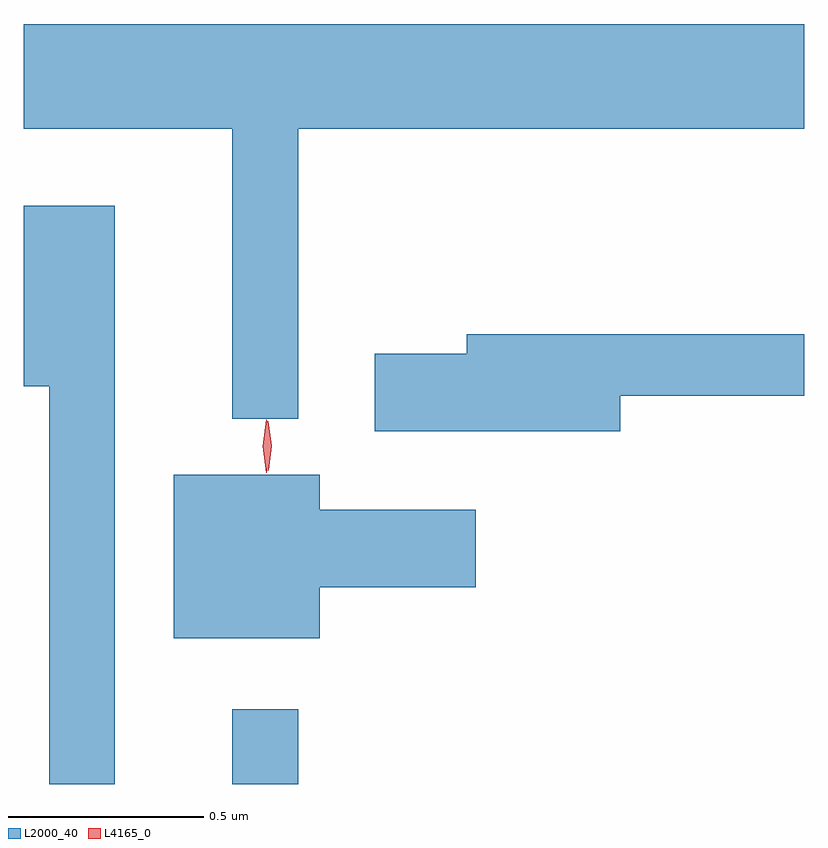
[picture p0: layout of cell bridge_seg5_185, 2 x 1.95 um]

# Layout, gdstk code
import gdstk
lib = gdstk.Library(unit=1e-6, precision=1e-09)
def R(c, l, rs):  # rectangles x0, y0, x1, y1
    for r in rs: c.add(gdstk.rectangle(r[:2], r[2:], *l))
def P(c, l, *ps):  # polygons
    for p in ps: c.add(gdstk.Polygon(p, *l))
L2000_40 = (2000, 40)
L4165_0 = (4165, 0)

bridge_seg5_185 = lib.new_cell('bridge_seg5_185')
R(bridge_seg5_185, L2000_40, [(1228.331,1455.117,1228.499,1455.308)])
P(bridge_seg5_185, L2000_40, [(1228.499,1456.796),(1229.796,1456.796),(1229.796,1457.064),(1227.796,1457.064),(1227.796,1456.796),(1228.331,1456.796),(1228.331,1456.053),(1228.499,1456.053)],
  [(1228.029,1456.599),(1227.796,1456.599),(1227.796,1456.136),(1227.861,1456.136),(1227.861,1455.117),(1228.029,1455.117)],
  [(1229.324,1456.111),(1229.796,1456.111),(1229.796,1456.269),(1228.931,1456.269),(1228.931,1456.219),(1228.696,1456.219),(1228.696,1456.021),(1229.324,1456.021)],
  [(1228.554,1455.621),(1228.954,1455.621),(1228.954,1455.819),(1228.554,1455.819),(1228.554,1455.909),(1228.181,1455.909),(1228.181,1455.491),(1228.554,1455.491)])
P(bridge_seg5_185, L4165_0, [(1228.418,1455.914),(1228.418,1455.915),(1228.408,1455.982),(1228.418,1456.05),(1228.418,1456.05),(1228.419,1456.05),(1228.428,1455.982),(1228.419,1455.915)],
  [(1228.423,1455.92),(1228.422,1455.921),(1228.412,1455.984),(1228.421,1456.046),(1228.421,1456.047),(1228.422,1456.046),(1228.432,1455.984),(1228.424,1455.921)])

lib.write_gds('bridge_seg5_185.gds')
